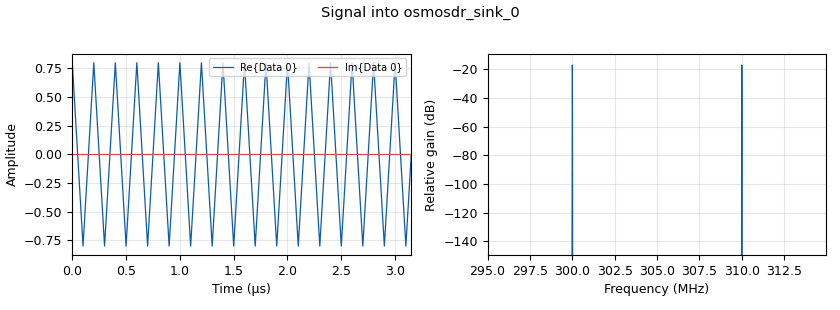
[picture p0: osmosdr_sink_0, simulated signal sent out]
options:
  parameters:
    description: 'Peine por tandas: 11 portadoras de 305 a 505 MHz, dos tonos en +/-5 MHz por portadora. Barrido automatico con bloques estandar (Vector Source, Repeat, Throttle, Probe Signal, Function Probe)'
    generate_options: qt_gui
    id: exp12_peine_tandas
    output_language: python
    title: EXP-12 peine por tandas 300 a 510 MHz
  states: {}

blocks:
- name: import_0
  id: import
  parameters:
    imports: import numpy as np
  states: {}
- name: samp_rate
  id: variable
  parameters:
    comment: Tasa de muestreo. Requiere USB 3
    value: 20e6
  states: {}
- name: f_tono
  id: variable
  parameters:
    comment: Los dos tonos van en +f_tono y -f_tono
    value: 5e6
  states: {}
- name: tasa_ctrl
  id: variable
  parameters:
    comment: Tasa de la rama de control del barrido
    value: 10e3
  states: {}
- name: portadoras
  id: variable
  parameters:
    comment: 11 portadoras, de 305 a 505 MHz
    value: '[305e6 + 20e6*i for i in range(11)]'
  states: {}
- name: modo
  id: variable_qtgui_chooser
  parameters:
    gui_hint: 0,0,1,1
    label: Modo
    num_opts: '2'
    orient: Qt.QHBoxLayout
    type: real
    value: '0'
    widget: radio_buttons
    option0: '0'
    label0: Automatico
    option1: '1'
    label1: Manual
  states: {}
- name: portadora_manual
  id: variable_qtgui_chooser
  parameters:
    gui_hint: 0,1,1,1
    label: Portadora en modo manual
    labels: '[''305 MHz'', ''325 MHz'', ''345 MHz'', ''365 MHz'', ''385 MHz'', ''405 MHz'', ''425 MHz'', ''445 MHz'', ''465 MHz'', ''485 MHz'', ''505 MHz'']'
    options: '[305000000, 325000000, 345000000, 365000000, 385000000, 405000000, 425000000, 445000000, 465000000, 485000000, 505000000]'
    num_opts: '0'
    type: real
    value: '305000000'
  states: {}
- name: tx_gain
  id: variable_qtgui_chooser
  parameters:
    gui_hint: 0,2,1,1
    label: Ganancia TX (dB)
    num_opts: '4'
    orient: Qt.QHBoxLayout
    type: real
    value: '17'
    widget: radio_buttons
    option0: '17'
    label0: '17'
    option1: '20'
    label1: '20'
    option2: '25'
    label2: '25'
    option3: '30'
    label3: '30'
  states: {}
- name: permanencia
  id: variable_qtgui_range
  parameters:
    gui_hint: 1,0,1,1
    label: Permanencia por portadora (s)
    min_len: '250'
    start: '1'
    step: '0.5'
    stop: '20'
    value: '2'
  states: {}
- name: amp
  id: variable_qtgui_range
  parameters:
    gui_hint: 1,1,1,1
    label: Amplitud de cada tono
    min_len: '250'
    start: '0.05'
    step: '0.01'
    stop: '0.45'
    value: '0.4'
  states: {}
- name: fase_inf
  id: variable_qtgui_range
  parameters:
    gui_hint: 1,2,1,1
    label: Fase del tono inferior (grados)
    min_len: '250'
    start: '-180'
    step: '1'
    stop: '180'
    value: '0'
  states: {}
- name: et_portadora
  id: variable_qtgui_label
  parameters:
    gui_hint: 2,0,1,1
    label: Portadora actual (MHz)
    type: real
    value: freq / 1e6
  states: {}
- name: et_inferior
  id: variable_qtgui_label
  parameters:
    gui_hint: 2,1,1,1
    label: Linea inferior (MHz)
    type: real
    value: (freq - f_tono) / 1e6
  states: {}
- name: et_superior
  id: variable_qtgui_label
  parameters:
    gui_hint: 2,2,1,1
    label: Linea superior (MHz)
    type: real
    value: (freq + f_tono) / 1e6
  states: {}
- name: et_paso
  id: variable_qtgui_label
  parameters:
    gui_hint: 3,0,1,1
    label: Paso del barrido (1 a 11)
    type: real
    value: indice + 1
  states: {}
- name: et_pico
  id: variable_qtgui_label
  parameters:
    gui_hint: 3,1,1,1
    label: Pico de banda base (debe ser < 1)
    type: real
    value: 2 * amp
  states: {}
- name: indice_medido
  id: variable_function_probe
  parameters:
    block_id: blocks_probe_signal_x_0
    comment: Lee la escalera de la rama de control
    function_name: level
    poll_rate: '2'
    value: '0'
  states: {}
- name: indice
  id: variable
  parameters:
    comment: Numero de portadora, de 0 a 10
    value: min(max(int(round(indice_medido)), 0), 10)
  states: {}
- name: freq
  id: variable
  parameters:
    comment: Frecuencia del oscilador
    value: portadora_manual if modo == 1 else portadoras[indice]
  states: {}
- name: c_inf
  id: variable
  parameters:
    comment: Fase aplicada al tono inferior
    value: np.exp(1j*np.deg2rad(fase_inf))
  states: {}
- name: analog_sig_source_x_0
  id: analog_sig_source_x
  parameters:
    amp: amp
    freq: f_tono
    offset: '0'
    phase: '0'
    samp_rate: samp_rate
    type: complex
    waveform: analog.GR_COS_WAVE
  states: {}
- name: blocks_conjugate_cc_0
  id: blocks_conjugate_cc
  parameters: {}
  states: {}
- name: blocks_multiply_const_inf
  id: blocks_multiply_const_vxx
  parameters:
    const: c_inf
    type: complex
  states: {}
- name: blocks_add_xx_0
  id: blocks_add_xx
  parameters:
    type: complex
  states: {}
- name: osmosdr_sink_0
  id: osmosdr_sink
  parameters:
    args: bladerf=0
    bb_gain0: '0'
    bw0: 14e6
    freq0: freq
    gain0: tx_gain
    if_gain0: '0'
    sample_rate: samp_rate
    sync: sync
    type: fc32
  states: {}
- name: blocks_vector_source_x_0
  id: blocks_vector_source_x
  parameters:
    repeat: 'True'
    type: float
    vector: list(range(11))
  states: {}
- name: blocks_repeat_0
  id: blocks_repeat
  parameters:
    interp: int(permanencia * tasa_ctrl)
    type: float
  states: {}
- name: blocks_throttle2_0
  id: blocks_throttle2
  parameters:
    limit: time
    maximum: '0.05'
    samples_per_second: tasa_ctrl
    type: float
  states: {}
- name: blocks_probe_signal_x_0
  id: blocks_probe_signal_x
  parameters:
    type: float
  states: {}

connections:
- [analog_sig_source_x_0, '0', blocks_add_xx_0, '0']
- [analog_sig_source_x_0, '0', blocks_conjugate_cc_0, '0']
- [blocks_conjugate_cc_0, '0', blocks_multiply_const_inf, '0']
- [blocks_multiply_const_inf, '0', blocks_add_xx_0, '1']
- [blocks_add_xx_0, '0', osmosdr_sink_0, '0']
- [blocks_vector_source_x_0, '0', blocks_repeat_0, '0']
- [blocks_repeat_0, '0', blocks_throttle2_0, '0']
- [blocks_throttle2_0, '0', blocks_probe_signal_x_0, '0']

metadata:
  file_format: 1
  grc_version: 3.10.12.0
